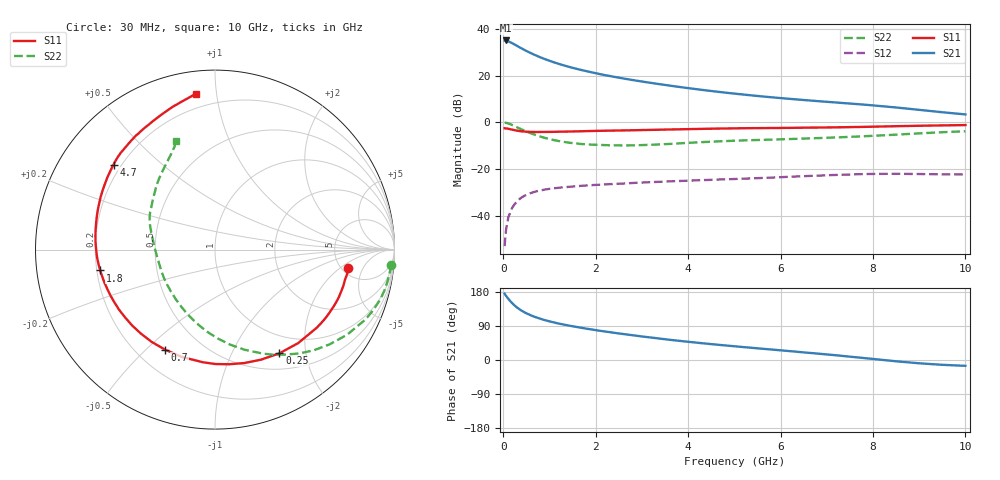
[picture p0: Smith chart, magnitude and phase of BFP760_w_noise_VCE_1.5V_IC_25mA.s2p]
! Infineon Technologies  Discrete & RF Semiconductors
! BFP760
! VCE =  1.5 V,  IC =  25 mA
! Common Emitter S-Parameters:  Nov 2012
# GHz  S  MA  R  50
!  f  S11  S21  S12  S22
! GHz  MAG  ANG  MAG  ANG  MAG  ANG  MAG  ANG
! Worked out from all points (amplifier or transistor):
!   99 points, 30 MHz to 10 GHz, reference 50 ohm
!   highest |S21| = 35.2 dB at 50 MHz (marker M1)
!   |S21| within 3 dB of that: start of sweep to 358.5 MHz
!   unconditionally stable (mu >= 1): 4.379 GHz to end of sweep
!   at 350 MHz: K = 0.24, MSG = 32.6 dB, |S12| = -32.9 dB
!   at 3.5 GHz: K = 0.91, MSG = 20.8 dB, |S12| = -25.4 dB
!   at 10 GHz: K = 1.11, MAG = 10.9 dB, |S12| = -22.4 dB
!   lowest NFmin = 0.68 dB at 900 MHz
!   S11 on the Smith chart (normalised r, x): 30 MHz: 5.66, -2.69; 250 MHz: 0.72, -1.55; 700 MHz: 0.31, -0.57; 1.8 GHz: 0.21, -0.09; 4.7 GHz: 0.17, +0.35; 10 GHz: 0.12, +0.88
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0.03  0.749 -8.0  57.17 175.1  0.0022 93.1  0.9824 -5.0
0.05  0.7434 -13.1  57.49 171.1  0.0037 88.4  0.9791 -8.5
0.1  0.7328 -25.7  55.5 163.0  0.0079 78.0  0.9589 -17.4
0.15  0.7145 -37.6  52.84 155.6  0.012 72.8  0.9193 -25.6
0.2  0.6972 -48.4  49.83 149.2  0.015 67.3  0.875 -32.9
0.25  0.6802 -58.2  46.9 143.4  0.0177 63.1  0.8284 -39.6
0.35  0.6529 -75.5  41.12 134.0  0.0226 57.3  0.7439 -51.1
0.45  0.6376 -89.7  36.35 126.5  0.0263 51.7  0.6714 -60.8
0.6  0.6258 -107.2  30.64 117.8  0.0305 46.0  0.5827 -73.4
0.7  0.623 -116.5  27.61 113.0  0.0328 43.0  0.5364 -80.9
0.9  0.6241 -131.6  22.91 105.2  0.0361 38.2  0.4653 -94.2
1.1  0.6275 -143.2  19.47 99.0  0.0385 34.8  0.4161 -105.7
1.4  0.6362 -156.4  15.81 91.3  0.0412 31.8  0.3701 -120.3
1.7  0.6462 -166.7  13.28 84.8  0.0436 29.9  0.3429 -132.9
1.8  0.6502 -169.7  12.6 82.7  0.0442 29.3  0.3385 -136.8
2.5  0.6707 173.4  9.138 70.1  0.0483 27.1  0.3211 -159.8
3.4  0.6975 156.9  6.584 56.2  0.0531 25.3  0.3375 177.4
4.7  0.7376 140.0  4.481 39.6  0.0596 23.2  0.3935 157.4
5.1  0.7475 136.5  4.055 35.2  0.0615 22.6  0.4076 153.3
6.7  0.7736 124.4  2.919 18.1  0.0713 19.2  0.4564 138.1
8.5  0.829 106.7  2.091 -3.4  0.0788 9.2  0.5455 120.4
10  0.8758 97.1  1.484 -15.4  0.0762 5.2  0.646 109.9
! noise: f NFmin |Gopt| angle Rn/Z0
0.9  0.68  0.13  -170  0.1
1.8  0.74  0.15  -159  0.07
2.4  0.78  0.16  -149  0.08
3.5  0.91  0.17  -140  0.09
5.5  1.12  0.26  -110  0.19
8  1.42  0.38  -78  0.37
